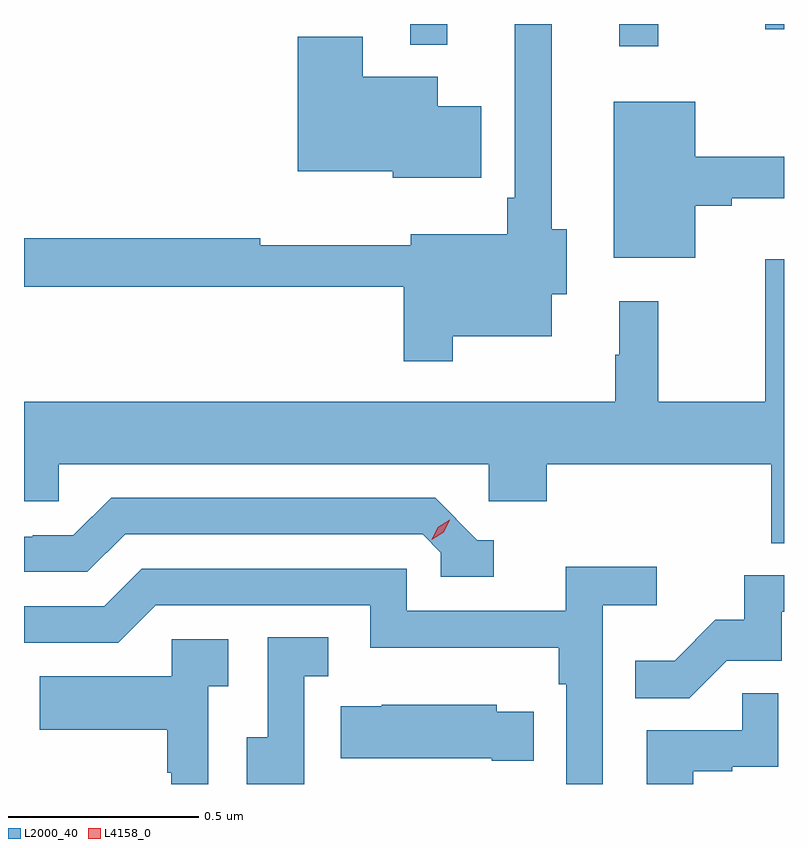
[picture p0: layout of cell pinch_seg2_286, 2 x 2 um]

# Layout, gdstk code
import gdstk
lib = gdstk.Library(unit=1e-6, precision=1e-09)
def R(c, l, rs):  # rectangles x0, y0, x1, y1
    for r in rs: c.add(gdstk.rectangle(r[:2], r[2:], *l))
def P(c, l, *ps):  # polygons
    for p in ps: c.add(gdstk.Polygon(p, *l))
L2000_40 = (2000, 40)
L4158_0 = (4158, 0)

pinch_seg2_286 = lib.new_cell('pinch_seg2_286')
R(pinch_seg2_286, L2000_40, [(931.856,632.751,931.958,632.81), (931.305,632.756,931.403,632.81), (932.24,632.796,932.289,632.81)])
P(pinch_seg2_286, L2000_40, [(931.417,631.988),(931.678,631.988),(931.678,632.099),(931.717,632.099),(931.717,632.27),(931.678,632.27),(931.678,632.81),(931.581,632.81),(931.581,632.353),(931.561,632.353),(931.561,632.257),(931.307,632.257),(931.307,632.228),(930.911,632.228),(930.911,632.246),(930.289,632.246),(930.289,632.118),(931.288,632.118),(931.288,631.923),(931.417,631.923)],
  [(931.492,632.593),(931.378,632.593),(931.378,632.671),(931.18,632.671),(931.18,632.776),(931.01,632.776),(931.01,632.423),(931.26,632.423),(931.26,632.405),(931.492,632.405)],
  [(932.056,632.332),(932.152,632.332),(932.152,632.351),(932.289,632.351),(932.289,632.461),(932.056,632.461),(932.056,632.605),(931.841,632.605),(931.841,632.195),(932.056,632.195)],
  [(932.289,632.191),(932.24,632.191),(932.24,631.816),(931.958,631.816),(931.958,632.08),(931.856,632.08),(931.856,631.94),(931.845,631.94),(931.845,631.816),(930.289,631.816),(930.289,631.554),(930.381,631.554),(930.381,631.652),(931.512,631.652),(931.512,631.554),(931.664,631.554),(931.664,631.652),(932.255,631.652),(932.255,631.444),(932.289,631.444)],
  [(931.525,631.452),(931.482,631.452),(931.371,631.563),(930.518,631.563),(930.419,631.464),(930.312,631.464),(930.312,631.461),(930.289,631.461),(930.289,631.368),(930.456,631.368),(930.555,631.467),(931.338,631.467),(931.386,631.419),(931.386,631.356),(931.525,631.356)],
  [(931.812,631.28),(931.954,631.28),(931.954,631.382),(931.715,631.382),(931.715,631.266),(931.296,631.266),(931.296,631.377),(930.599,631.377),(930.5,631.278),(930.289,631.278),(930.289,631.182),(930.537,631.182),(930.636,631.281),(931.2,631.281),(931.2,631.169),(931.696,631.169),(931.696,631.073),(931.716,631.073),(931.716,630.81),(931.812,630.81)],
  [(932.138,631.134),(932.283,631.134),(932.283,631.263),(932.289,631.263),(932.289,631.359),(932.185,631.359),(932.185,631.242),(932.108,631.242),(932.001,631.135),(931.897,631.135),(931.897,631.036),(932.04,631.036)],
  [(931.026,631.093),(931.09,631.093),(931.09,631.196),(930.93,631.196),(930.93,630.933),(930.875,630.933),(930.875,630.81),(931.026,630.81)],
  [(930.774,631.067),(930.826,631.067),(930.826,631.191),(930.678,631.191),(930.678,631.093),(930.331,631.093),(930.331,630.953),(930.666,630.953),(930.666,630.839),(930.676,630.839),(930.676,630.81),(930.774,630.81)],
  [(932.05,630.843),(932.153,630.843),(932.153,630.855),(932.274,630.855),(932.274,631.049),(932.179,631.049),(932.179,630.951),(931.928,630.951),(931.928,630.81),(932.05,630.81)],
  [(931.631,631),(931.533,631),(931.533,631.018),(931.231,631.018),(931.231,631.015),(931.123,631.015),(931.123,630.878),(931.52,630.878),(931.52,630.871),(931.631,630.871)])
P(pinch_seg2_286, L4158_0, [(931.362,631.453),(931.362,631.453),(931.378,631.486),(931.41,631.505),(931.41,631.505),(931.41,631.505),(931.393,631.472),(931.362,631.453)])

lib.write_gds('pinch_seg2_286.gds')
